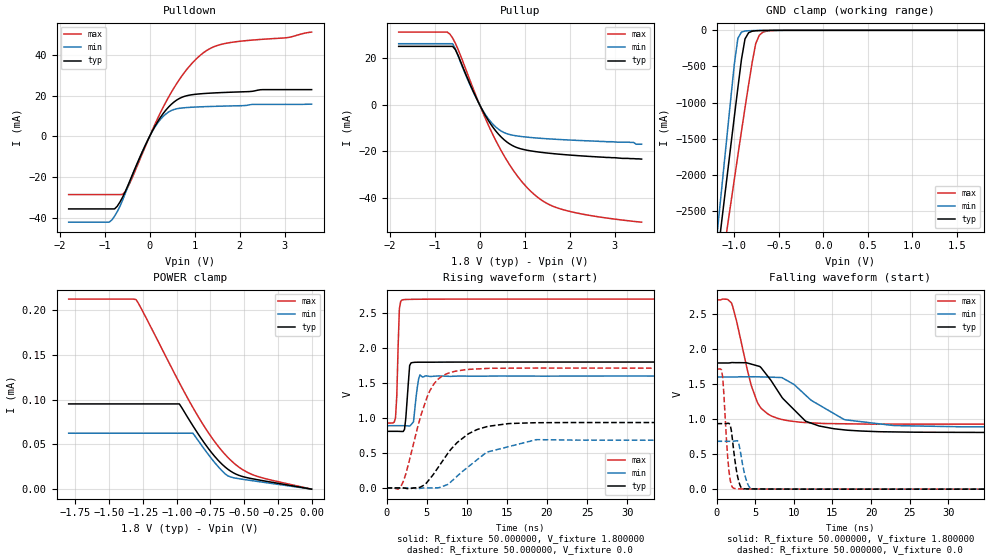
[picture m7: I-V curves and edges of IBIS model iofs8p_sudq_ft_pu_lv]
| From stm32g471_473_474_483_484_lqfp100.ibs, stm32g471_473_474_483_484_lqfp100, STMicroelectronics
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|   Model iofs8p_sudq_ft_pu_lv
[Model]  iofs8p_sudq_ft_pu_lv
Model_type I/O
Polarity   Non-Inverting
Enable   Active-Low
Vinl =   0.540000V
Vinh =   1.260000V
Vmeas =  0.900000V
Cref =   40.000000pF
Rref =   100.000000M
Vref =   0.0V
C_comp   1.984800pF   1.899400pF   2.077500pF
[Temperature Range]   25.000000   -40.000000   0.125000k
[Pullup Reference]   1.800000V   1.600000V   2.700000V
[Pulldown Reference]   0.0V   0.0V   0.0V
[POWER Clamp Reference]   1.800000V   1.600000V   2.700000V
[GND Clamp Reference]   0.0V   0.0V   0.0V
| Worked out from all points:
|   slope of the pulldown table from 0 to 0.27 V, typ, clamps not added: 26.4 ohm
|   slope of the pullup table from 0 to 0.27 V, typ, clamps not added: 30.1 ohm
|   GND clamp passes 1 mA (typ) near -0.61 V on its own axis
|   rising waveform, R_fixture 50.000000, V_fixture 1.800000: 20-80 % time 376ps typ, 425ps min, 278ps max; typ from 0.81 V to 1.8 V
|   rising waveform, R_fixture 50.000000, V_fixture 0.0: 20-80 % time 4.11ns typ, 5.19ns min, 2.6ns max; typ from 0.001 V to 0.935 V
|   falling waveform, R_fixture 50.000000, V_fixture 1.800000: 20-80 % time 4.49ns typ, 5.53ns min, 2.44ns max; typ from 1.8 V to 0.81 V
|   falling waveform, R_fixture 50.000000, V_fixture 0.0: 20-80 % time 698ps typ, 764ps min, 598ps max; typ from 0.935 V to 0.001 V
[Pulldown]
|Voltage   I(typ)   I(min)   I(max)
-1.8V     -35.64mA   -42.15mA   -28.59mA
-900mV    -35.64mA   -42.15mA   -28.59mA
-780mV    -35.64mA   -39.2mA    -28.59mA
-600mV    -29.83mA   -31.3mA    -28.52mA
-420mV    -20.8mA    -21.07mA   -21.98mA
60mV      2.604mA    2.459mA    3.062mA
240mV     9.303mA    8.31mA     11.61mA
480mV     15.67mA    12.64mA    21.52mA
720mV     19.18mA    13.9mA     29.74mA
960mV     20.46mA    14.3mA     36.27mA
1.44V     21.29mA    14.7mA     44.06mA
3.6V      22.91mA    15.79mA    51.15mA
[Pullup]
|Voltage   I(typ)   I(min)   I(max)
-1.8V     25.2mA     26.34mA    31.35mA
-660mV    25.2mA     26.34mA    30.46mA
-600mV    25.2mA     26.34mA    28.76mA
-540mV    23.79mA    24.11mA    26.53mA
-60mV     2.392mA    2.26mA     2.893mA
300mV     -9.801mA   -8.48mA    -13.12mA
480mV     -13.91mA   -11.33mA   -19.82mA
720mV     -17.48mA   -13.04mA   -27.45mA
1.26V     -20.22mA   -14.3mA    -39.41mA
1.56V     -20.91mA   -14.71mA   -43.13mA
1.98V     -21.62mA   -15.16mA   -45.85mA
3.6V      -23.4mA    -17mA      -50.6mA
[GND_clamp]
|Voltage   I(typ)   I(min)   I(max)
-1.8V     -9.477A    -9.805A    -9.016A
-1.2V     -3.243A    -2.9A      -3.759A
-1.16V    -2.83A     -2.409A    -3.417A
-1.12V    -2.418A    -1.919A    -3.076A
-1.08V    -2.008A    -1.431A    -2.736A
-1V       -1.194A    -466mA     -2.061A
-960mV    -792.8mA   -108.7mA   -1.727A
-920mV    -402mA     -24.35mA   -1.396A
-880mV    -117.8mA   -9.188mA   -1.071A
-760mV    -5.896mA   -2.88mA    -183.8mA
-680mV    -2.395mA   -1.099mA   -26.61mA
1.8V      0A         0A         0A
[POWER_clamp]
|Voltage   I(typ)   I(min)   I(max)
-1.8V     95.27uA    62.52uA    212.4uA
-1.3V     95.27uA    62.52uA    211.7uA
-1.24V    95.27uA    62.52uA    195.4uA
-980mV    95.27uA    62.52uA    119uA
-880mV    70.93uA    62.52uA    91.35uA
-740mV    40.61uA    33.79uA    57.65uA
-640mV    24.64uA    16.99uA    38.63uA
-600mV    20.11uA    13.6uA     32.43uA
-540mV    15.51uA    11.72uA    24.8uA
-440mV    11.66uA    9.491uA    16.35uA
-340mV    8.934uA    7.326uA    11.65uA
0V        0A         0A         0A
[Ramp]
| variable   typ   min   max
dV/dt_r  0.56065/4.10666n   0.41004/5.21865n   1.02723/2.59603n
dV/dt_f  0.59442/4.48383n   0.42528/5.51382n   1.06315/2.43914n
R_load = 50.000000
[Rising Waveform]
R_fixture= 50.000000
V_fixture= 1.800000
V_fixture_min= 1.600000
V_fixture_max= 2.700000
|time   V(typ)   V(min)   V(max)
0s        809.8mV    890.3mV    928.1mV
1.121ns   809.8mV    890.3mV    1.004V
1.281ns   809.8mV    890.3mV    1.323V
1.602ns   809.1mV    890.3mV    2.561V
2.082ns   807.7mV    890.4mV    2.691V
2.402ns   997mV      889.9mV    2.694V
2.883ns   1.749V     885.5mV    2.696V
3.363ns   1.794V     947.3mV    2.697V
4.164ns   1.798V     1.617V     2.698V
79.76ns   1.8V       1.6V       2.7V
[Rising Waveform]
R_fixture= 50.000000
V_fixture= 0.0
V_fixture_min= 0.0
V_fixture_max= 0.0
|time   V(typ)   V(min)   V(max)
0s        728.8uV    547.7uV    1.257mV
1.441ns   744.3uV    546.4uV    -16.91mV
2.082ns   506uV      547.1uV    92.43mV
4.324ns   19.48mV    -2.981mV   1.051V
5.766ns   182.9mV    1.182mV    1.462V
8.488ns   610.6mV    135.8mV    1.667V
10.25ns   777mV      308.1mV    1.695V
12.49ns   876.1mV    511.9mV    1.708V
18.74ns   932.8mV    690.8mV    1.714V
79.76ns   935.3mV    683.1mV    1.713V
[Falling Waveform]
R_fixture= 50.000000
V_fixture= 1.800000
V_fixture_min= 1.600000
V_fixture_max= 2.700000
|time   V(typ)   V(min)   V(max)
0s        1.8V       1.6V       2.7V
1.922ns   1.806V     1.6V       2.659V
4.484ns   1.785V     1.604V     1.484V
5.285ns   1.76V      1.603V     1.239V
8.649ns   1.287V     1.58V      989.9mV
11.53ns   969.5mV    1.341V     950.8mV
13.29ns   901.2mV    1.201V     940.5mV
16.66ns   844.7mV    990mV      932.8mV
22.9ns    817.1mV    908.3mV    928.2mV
79.76ns   809.8mV    890.3mV    928.1mV
[Falling Waveform]
R_fixture= 50.000000
V_fixture= 0.0
V_fixture_min= 0.0
V_fixture_max= 0.0
|time   V(typ)   V(min)   V(max)
0s        935.3mV    683.1mV    1.713V
800.8ps   935.2mV    683.1mV    1.598V
1.602ns   939.6mV    683mV      265.7mV
1.922ns   835.1mV    682.6mV    56.69mV
2.402ns   395.6mV    688mV      8.372mV
2.883ns   109.8mV    649.6mV    4.938mV
3.203ns   20.99mV    464.8mV    4.14mV
4.004ns   4.338mV    82.51mV    3.072mV
4.645ns   3.697mV    5.197mV    2.535mV
79.76ns   728.8uV    547.7uV    1.257mV
